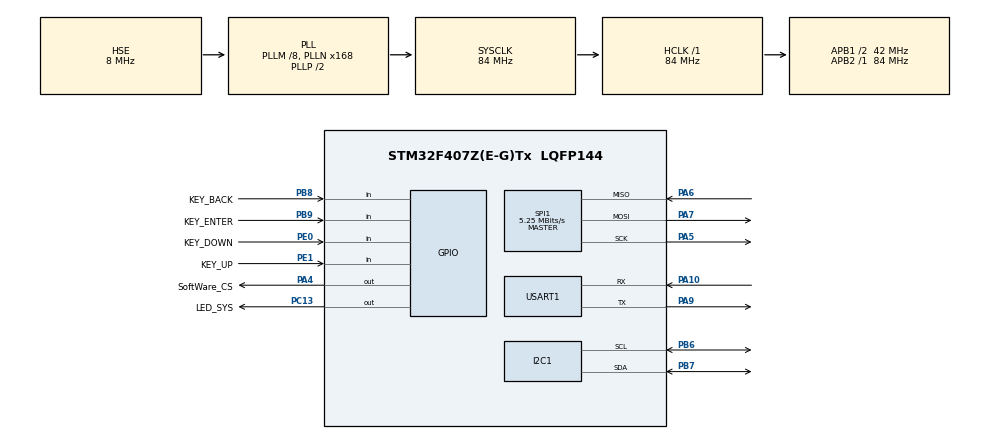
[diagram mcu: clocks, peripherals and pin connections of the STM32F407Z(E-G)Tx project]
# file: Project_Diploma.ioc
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Dma.Request0=USART1_RX
Dma.Request1=USART1_TX
Dma.Request2=SPI1_RX
Dma.Request3=SPI1_TX
Dma.SPI1_RX.2.Direction=DMA_PERIPH_TO_MEMORY
Dma.SPI1_RX.2.FIFOMode=DMA_FIFOMODE_DISABLE
Dma.SPI1_RX.2.Instance=DMA2_Stream0
Dma.SPI1_RX.2.MemDataAlignment=DMA_MDATAALIGN_BYTE
Dma.SPI1_RX.2.MemInc=DMA_MINC_ENABLE
Dma.SPI1_RX.2.Mode=DMA_NORMAL
Dma.SPI1_RX.2.PeriphDataAlignment=DMA_PDATAALIGN_BYTE
Dma.SPI1_RX.2.PeriphInc=DMA_PINC_DISABLE
Dma.SPI1_RX.2.Priority=DMA_PRIORITY_VERY_HIGH
Dma.SPI1_TX.3.Direction=DMA_MEMORY_TO_PERIPH
Dma.SPI1_TX.3.FIFOMode=DMA_FIFOMODE_DISABLE
Dma.SPI1_TX.3.Instance=DMA2_Stream3
Dma.SPI1_TX.3.MemDataAlignment=DMA_MDATAALIGN_BYTE
Dma.SPI1_TX.3.MemInc=DMA_MINC_ENABLE
Dma.SPI1_TX.3.Mode=DMA_NORMAL
Dma.SPI1_TX.3.PeriphDataAlignment=DMA_PDATAALIGN_BYTE
Dma.SPI1_TX.3.PeriphInc=DMA_PINC_DISABLE
Dma.SPI1_TX.3.Priority=DMA_PRIORITY_VERY_HIGH
Dma.USART1_RX.0.Direction=DMA_PERIPH_TO_MEMORY
Dma.USART1_RX.0.FIFOMode=DMA_FIFOMODE_DISABLE
Dma.USART1_RX.0.Instance=DMA2_Stream2
Dma.USART1_RX.0.MemDataAlignment=DMA_MDATAALIGN_BYTE
Dma.USART1_RX.0.MemInc=DMA_MINC_ENABLE
Dma.USART1_RX.0.Mode=DMA_NORMAL
Dma.USART1_RX.0.PeriphDataAlignment=DMA_PDATAALIGN_BYTE
Dma.USART1_RX.0.PeriphInc=DMA_PINC_DISABLE
Dma.USART1_RX.0.Priority=DMA_PRIORITY_LOW
Dma.USART1_TX.1.Direction=DMA_MEMORY_TO_PERIPH
Dma.USART1_TX.1.FIFOMode=DMA_FIFOMODE_DISABLE
Dma.USART1_TX.1.Instance=DMA2_Stream7
Dma.USART1_TX.1.MemDataAlignment=DMA_MDATAALIGN_BYTE
Dma.USART1_TX.1.MemInc=DMA_MINC_ENABLE
Dma.USART1_TX.1.Mode=DMA_NORMAL
Dma.USART1_TX.1.PeriphDataAlignment=DMA_PDATAALIGN_BYTE
Dma.USART1_TX.1.PeriphInc=DMA_PINC_DISABLE
Dma.USART1_TX.1.Priority=DMA_PRIORITY_LOW
I2C1.DutyCycle=I2C_DUTYCYCLE_16_9
I2C1.I2C_Mode=I2C_Fast
Mcu.Family=STM32F4
Mcu.Name=STM32F407Z(E-G)Tx
Mcu.Package=LQFP144
NVIC.DMA2_Stream0_IRQn=true\:0\:0\:false\:false\:true\:false\:true\:true
NVIC.DMA2_Stream2_IRQn=true\:0\:0\:false\:false\:true\:false\:true\:true
NVIC.DMA2_Stream3_IRQn=true\:0\:0\:false\:false\:true\:false\:true\:true
NVIC.DMA2_Stream7_IRQn=true\:0\:0\:false\:false\:true\:false\:true\:true
NVIC.PriorityGroup=NVIC_PRIORITYGROUP_4
NVIC.TIM2_IRQn=true\:0\:0\:false\:false\:true\:true\:true\:true
NVIC.USART1_IRQn=true\:0\:0\:false\:false\:true\:false\:true\:true
PA10.Mode=Asynchronous
PA10.Signal=USART1_RX
PA13.Mode=Serial_Wire
PA13.Signal=SYS_JTMS-SWDIO
PA14.Mode=Serial_Wire
PA14.Signal=SYS_JTCK-SWCLK
PA4.GPIO_Label=SoftWare_CS
PA4.Signal=GPIO_Output
PA5.Mode=Full_Duplex_Master
PA5.Signal=SPI1_SCK
PA6.Mode=Full_Duplex_Master
PA6.Signal=SPI1_MISO
PA7.Mode=Full_Duplex_Master
PA7.Signal=SPI1_MOSI
PA9.Mode=Asynchronous
PA9.Signal=USART1_TX
PB6.Mode=I2C
PB6.Signal=I2C1_SCL
PB7.Mode=I2C
PB7.Signal=I2C1_SDA
PB8.GPIO_Label=KEY_BACK
PB8.GPIO_PuPd=GPIO_PULLUP
PB8.Signal=GPIO_Input
PB9.GPIO_Label=KEY_ENTER
PB9.GPIO_PuPd=GPIO_PULLUP
PB9.Signal=GPIO_Input
PC13-ANTI_TAMP.GPIO_Label=LED_SYS
PC13-ANTI_TAMP.Signal=GPIO_Output
PE0.GPIO_Label=KEY_DOWN
PE0.GPIO_PuPd=GPIO_PULLUP
PE0.Signal=GPIO_Input
PE1.GPIO_Label=KEY_UP
PE1.GPIO_PuPd=GPIO_PULLUP
PE1.Signal=GPIO_Input
PH0-OSC_IN.Mode=HSE-External-Oscillator
PH0-OSC_IN.Signal=RCC_OSC_IN
PH1-OSC_OUT.Mode=HSE-External-Oscillator
PH1-OSC_OUT.Signal=RCC_OSC_OUT
ProjectManager.HeapSize=0x200
ProjectManager.StackSize=0x400
ProjectManager.TargetToolchain=MDK-ARM V5.32
RCC.48MHZClocksFreq_Value=42000000
RCC.AHBFreq_Value=84000000
RCC.APB1CLKDivider=RCC_HCLK_DIV2
RCC.APB1Freq_Value=42000000
RCC.APB1TimFreq_Value=84000000
RCC.APB2Freq_Value=84000000
RCC.APB2TimFreq_Value=84000000
RCC.CortexFreq_Value=84000000
RCC.HCLKFreq_Value=84000000
RCC.HSE_VALUE=8000000
RCC.HSI_VALUE=16000000
RCC.LSE_VALUE=32768
RCC.PLLM=8
RCC.PLLN=168
RCC.PLLSourceVirtual=RCC_PLLSOURCE_HSE
RCC.SYSCLKFreq_VALUE=84000000
RCC.SYSCLKSource=RCC_SYSCLKSOURCE_PLLCLK
RCC.VCOOutputFreq_Value=168000000
SPI1.BaudRatePrescaler=SPI_BAUDRATEPRESCALER_16
SPI1.CLKPhase=SPI_PHASE_2EDGE
SPI1.CLKPolarity=SPI_POLARITY_HIGH
SPI1.CalculateBaudRate=5.25 MBits/s
SPI1.Direction=SPI_DIRECTION_2LINES
SPI1.Mode=SPI_MODE_MASTER
SPI1.VirtualType=VM_MASTER
STMicroelectronics.X-CUBE-ALGOBUILD.1.4.0.LibraryCcDSPOoLibraryJjDSPOoLibrary=true
TIM2.AutoReloadPreload=TIM_AUTORELOAD_PRELOAD_ENABLE
TIM2.Period=1000-1
TIM2.Prescaler=84-1
USART1.VirtualMode=VM_ASYNC
VP_STMicroelectronics.X-CUBE-ALGOBUILD_VS_DSPOoLibraryJjLibrary_1.4.0_1.4.0.Mode=DSPOoLibraryJjLibrary
VP_TIM2_VS_ClockSourceINT.Mode=Internal
board=custom

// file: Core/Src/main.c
/* USER CODE BEGIN Header */
/**
  ******************************************************************************
  * @file           : main.c
  * @brief          : Main program body
  ******************************************************************************
  * @attention
  *
  * Copyright (c) 2025 STMicroelectronics.
  * All rights reserved.
  *
  * This software is licensed under terms that can be found in the LICENSE file
  * in the root directory of this software component.
  * If no LICENSE file comes with this software, it is provided AS-IS.
  *
  ******************************************************************************
  */
/* USER CODE END Header */
#include "main.h"
#include "dma.h"
#include "i2c.h"
#include "spi.h"
#include "tim.h"
#include "usart.h"
#include "gpio.h"

/* USER CODE BEGIN Includes */
//#include "OLED_Menu.h"
#include "LED.h"
//#include "TEST_DSP.h"
#include "ADXL345.h"
#include "ds18b20.h"
#include "my_delay.h"
#include "OLED.h"
#include "OLED_Menu.h"
/* USER CODE END Includes */

/* USER CODE BEGIN PV */
LED_TypeDef LED_SYS;

uint8_t LED1Mode;
uint8_t LED2Mode;

/* USER CODE END PV */

void SystemClock_Config(void);

/* USER CODE BEGIN 0 */
void HAL_TIM_PeriodElapsedCallback(TIM_HandleTypeDef *htim)
{
  static uint32_t flag_500ms =0;
  static uint32_t flag_5s =0;
	if(htim->Instance==TIM2)//1MS  timer interrupt
	{
    Key_Tick();//1 MS KEY
    if(++flag_500ms > 500)        //500ms LED
    {
      LED_SetState(&LED_SYS, LED_BLINK);
      flag_500ms =0;
    }
    if(++flag_5s > 5000)        //5s LED
    {
      ADXL345_TEMP_Calibrate(); // ADXL345 temperature calibrate . MAY SHOULD TAKE IT OUT
      flag_5s =0;
    }
		//TIM_ClearITPendingBit(TIM2, TIM_IT_Update);
// HAL AUTO DO IT!!!
	}
}

void Display_init(){
//cartton start
  OLED_ShowStartImage(32,0,64,64,LOGO_ST);//this function are apecial,
  HAL_Delay(150);//
  OLED_ReverseArea(32, 0,64,64);OLED_Update();// color reversion
  OLED_ShowStartString(0,64-8,"press any key to enter.",OLED_6X8);//another cartoon
  OLED_Update();				//operate

  while(!Key_GetNum());//wait press,press any key to enter
  OLED_Clear();	OLED_Update();//clear screen

// 初始化新菜单系统
OLED_Menu_Init();
// 显示主菜单
MenuDisplay_DrawMenu(&g_menuManager);

}

/* USER CODE END 0 */

int main(void)
{

  /* MCU Configuration--------------------------------------------------------*/

  /* Reset of all peripherals, Initializes the Flash interface and the Systick. */
  HAL_Init();

  /* Configure the system clock */
  SystemClock_Config();

  /* Initialize all configured peripherals */
  MX_GPIO_Init();
  MX_DMA_Init();
  MX_I2C1_Init();
  MX_USART1_UART_Init();
  MX_SPI1_Init();
  MX_TIM2_Init();
  /* USER CODE BEGIN 2 */
  ADXL345_Init(); // ADXL345 init
  HAL_TIM_Base_Start_IT(&htim2);// start TIM2, 1ms interrupt
  HAL_Delay(100); // wait for system stable
  LED_Init(&LED_SYS, LED_SYS_GPIO_Port, LED_SYS_Pin); // system status led
	OLED_Init();// OLED init
  delay_init(168);
  DS18B20_Init(); // DS18B20 init

  Display_init(); // OLED display init

//  MyDSP_Init();
//  arm_fir_f32_lp();
//  arm_hanning_f32(hanning_window, LENGTH_SAMPLE);
//  MyFFT_Process();
  //test();
  //MyDSP_Process();
  //arm_rfft_fast_f32_app();
  /* USER CODE END 2 */

  /* Infinite loop */
  while (1)
  {

    /* USER CODE BEGIN 3 */

    // 菜单更新
    Choose_menu();  // 处理按键并更新菜单显示

    // 调试信息：显示当前选中的菜单项（可选）
    // OLED_ShowNum(0, 0, Num_Choose, 1, OLED_8X16);
    // OLED_Update();

    //test_dsp();

    //MyDSP_Process();//HAL_Delay(500);
  }
  /* USER CODE END 3 */
}

void SystemClock_Config(void)
{
  RCC_OscInitTypeDef RCC_OscInitStruct = {0};
  RCC_ClkInitTypeDef RCC_ClkInitStruct = {0};

  /** Configure the main internal regulator output voltage
  */
  __HAL_RCC_PWR_CLK_ENABLE();
  __HAL_PWR_VOLTAGESCALING_CONFIG(PWR_REGULATOR_VOLTAGE_SCALE1);

  /** Initializes the RCC Oscillators according to the specified parameters
  * in the RCC_OscInitTypeDef structure.
  */
  RCC_OscInitStruct.OscillatorType = RCC_OSCILLATORTYPE_HSE;
  RCC_OscInitStruct.HSEState = RCC_HSE_ON;
  RCC_OscInitStruct.PLL.PLLState = RCC_PLL_ON;
  RCC_OscInitStruct.PLL.PLLSource = RCC_PLLSOURCE_HSE;
  RCC_OscInitStruct.PLL.PLLM = 8;
  RCC_OscInitStruct.PLL.PLLN = 168;
  RCC_OscInitStruct.PLL.PLLP = RCC_PLLP_DIV2;
  RCC_OscInitStruct.PLL.PLLQ = 4;
  if (HAL_RCC_OscConfig(&RCC_OscInitStruct) != HAL_OK)
  {
    Error_Handler();
  }

  /** Initializes the CPU, AHB and APB buses clocks
  */
  RCC_ClkInitStruct.ClockType = RCC_CLOCKTYPE_HCLK|RCC_CLOCKTYPE_SYSCLK
                              |RCC_CLOCKTYPE_PCLK1|RCC_CLOCKTYPE_PCLK2;
  RCC_ClkInitStruct.SYSCLKSource = RCC_SYSCLKSOURCE_PLLCLK;
  RCC_ClkInitStruct.AHBCLKDivider = RCC_SYSCLK_DIV1;
  RCC_ClkInitStruct.APB1CLKDivider = RCC_HCLK_DIV2;
  RCC_ClkInitStruct.APB2CLKDivider = RCC_HCLK_DIV1;

  if (HAL_RCC_ClockConfig(&RCC_ClkInitStruct, FLASH_LATENCY_2) != HAL_OK)
  {
    Error_Handler();
  }
}

void Error_Handler(void)
{
  __disable_irq();
  while (1)
  {
  }
}
